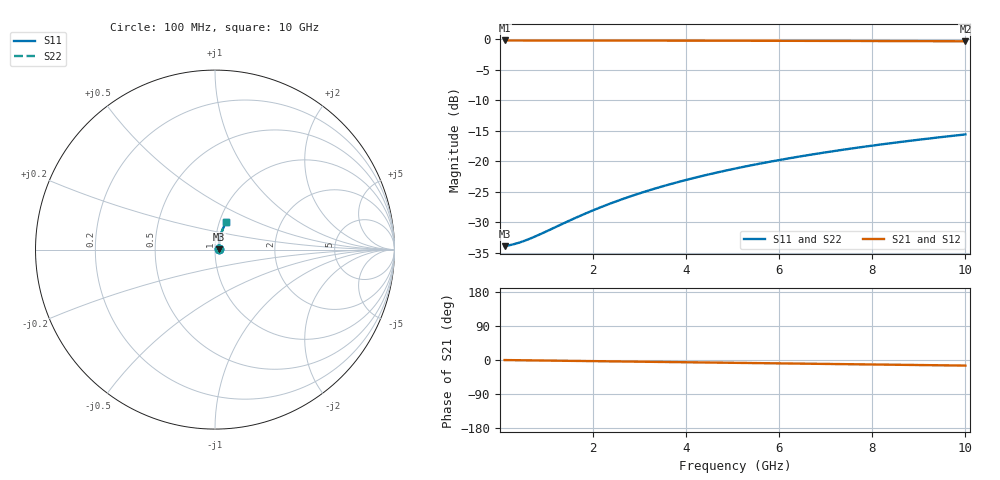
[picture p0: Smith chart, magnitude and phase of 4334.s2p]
# Hz S RI R 50.00
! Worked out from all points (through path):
!   100 points, 100 MHz to 10 GHz, reference 50 ohm
!   highest |S21| = -0.18 dB at 100 MHz (marker M1); lowest = -0.3 dB at 10 GHz (marker M2)
!   group delay of S21, straight-line fit = 4.09 ps
!   lowest |S11| = -33.9 dB at 100 MHz (marker M3), VSWR 1.04, Z = 52 + j0.17 ohm
!   |S11| at or under -10 dB: start of sweep to end of sweep
!   |S22| runs from -33.9 to -15.6 dB; largest |S21 - S12| = 0
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1e8  0.0201 0.00163  0.9799 -0.00254  0.9799 -0.00254  0.0201 0.00163
3e8  0.0203 0.00489  0.9797 -0.00763  0.9797 -0.00763  0.0203 0.00489
4e8  0.0204 0.00652  0.9796 -0.0102  0.9796 -0.0102  0.0204 0.00652
6e8  0.0206 0.00977  0.9794 -0.0152  0.9794 -0.0152  0.0206 0.00977
9e8  0.021 0.0146  0.979 -0.0229  0.979 -0.0229  0.021 0.0146
1.5e9  0.0218 0.0244  0.9781 -0.0381  0.9781 -0.0381  0.0218 0.0244
1.8e9  0.0223 0.0292  0.9776 -0.0457  0.9776 -0.0457  0.0223 0.0292
2.2e9  0.023 0.0357  0.9767 -0.0558  0.9767 -0.0558  0.023 0.0357
2.6e9  0.0239 0.0421  0.9758 -0.0658  0.9758 -0.0658  0.0239 0.0421
3e9  0.0249 0.0485  0.9746 -0.0759  0.9746 -0.0759  0.0249 0.0485
3.4e9  0.0261 0.0549  0.9734 -0.0859  0.9734 -0.0859  0.0261 0.0549
3.8e9  0.0274 0.0613  0.972 -0.096  0.972 -0.096  0.0274 0.0613
4.2e9  0.0288 0.0676  0.9705 -0.1059  0.9705 -0.1059  0.0288 0.0676
4.6e9  0.0303 0.0739  0.9688 -0.1159  0.9688 -0.1159  0.0303 0.0739
5.1e9  0.0324 0.0817  0.9665 -0.1282  0.9665 -0.1282  0.0324 0.0817
5.5e9  0.0342 0.0879  0.9645 -0.1381  0.9645 -0.1381  0.0342 0.0879
5.9e9  0.0361 0.094  0.9624 -0.1479  0.9624 -0.1479  0.0361 0.094
6.7e9  0.0403 0.1062  0.9577 -0.1674  0.9577 -0.1674  0.0403 0.1062
7.5e9  0.045 0.1181  0.9525 -0.1866  0.9525 -0.1866  0.045 0.1181
8.4e9  0.0509 0.1313  0.9461 -0.208  0.9461 -0.208  0.0509 0.1313
9.2e9  0.0566 0.1426  0.9398 -0.2267  0.9398 -0.2267  0.0566 0.1426
1e10  0.0627 0.1538  0.933 -0.2452  0.933 -0.2452  0.0627 0.1538
